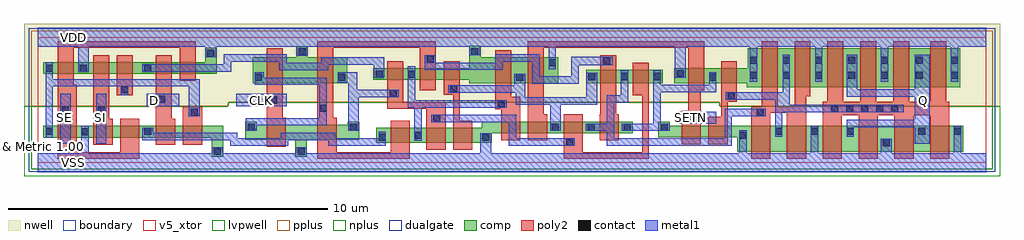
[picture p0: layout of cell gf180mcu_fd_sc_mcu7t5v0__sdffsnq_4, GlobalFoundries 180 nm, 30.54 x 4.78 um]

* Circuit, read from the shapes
.subckt gf180mcu_fd_sc_mcu7t5v0__sdffsnq_4 CLK D Q SE SETN SI VDD VSS
XM1 VSS SE n1 VSUBS nfet_05v0 w=0.38u l=0.6u
XM2 n2 SI VSS VSUBS nfet_05v0 w=0.38u l=0.6u
XM3 n3 SE n2 VSUBS nfet_05v0 w=0.38u l=0.6u
XM4 n4 D n3 VSUBS nfet_05v0 w=0.38u l=0.6u
XM5 VSS n1 n4 VSUBS nfet_05v0 w=0.38u l=0.6u
XM6 VSS CLK n5 VSUBS nfet_05v0 w=0.465u l=0.6u
XM7 n6 n5 VSS VSUBS nfet_05v0 w=0.465u l=0.6u
XM8 n7 n5 n3 VSUBS nfet_05v0 w=0.475u l=0.6u
XM9 n8 n6 n7 VSUBS nfet_05v0 w=0.475u l=0.6u
XM10 VSS n9 n8 VSUBS nfet_05v0 w=0.475u l=0.6u
XM11 n10 n7 VSS VSUBS nfet_05v0 w=0.36u l=0.6u
XM12 n9 SETN n10 VSUBS nfet_05v0 w=0.36u l=0.6u
XM13 n11 n6 n9 VSUBS nfet_05v0 w=0.36u l=0.6u
XM14 n12 n5 n11 VSUBS nfet_05v0 w=0.36u l=0.6u
XM15 n13 SETN n12 VSUBS nfet_05v0 w=0.37u l=0.6u
XM16 VSS n14 n13 VSUBS nfet_05v0 w=0.37u l=0.6u
XM17 n14 n11 VSS VSUBS nfet_05v0 w=0.815u l=0.6u m=2
XM18 Q n14 VSS VSUBS nfet_05v0 w=0.815u l=0.6u m=4
XM19 VDD SE n1 n15 pfet_05v0 w=0.36u l=0.5u
XM20 n16 SI VDD n15 pfet_05v0 w=0.36u l=0.5u
XM21 n17 n1 n16 n15 pfet_05v0 w=0.36u l=0.5u
XM22 n18 D n17 n15 pfet_05v0 w=0.36u l=0.5u
XM23 VDD SE n18 n15 pfet_05v0 w=0.36u l=0.5u
XM24 VDD CLK n5 n15 pfet_05v0 w=0.815u l=0.5u
XM25 n6 n5 VDD n15 pfet_05v0 w=0.815u l=0.5u
XM26 n7 n6 n17 n15 pfet_05v0 w=0.36u l=0.5u
XM27 n19 n5 n7 n15 pfet_05v0 w=0.36u l=0.5u
XM28 VDD n9 n19 n15 pfet_05v0 w=0.36u l=0.5u
XM29 n9 n7 VDD n15 pfet_05v0 w=0.815u l=0.5u
XM30 VDD SETN n9 n15 pfet_05v0 w=0.815u l=0.5u
XM31 n11 n5 n9 n15 pfet_05v0 w=0.415u l=0.5u
XM32 n12 n6 n11 n15 pfet_05v0 w=0.415u l=0.5u
XM33 n12 SETN VDD n15 pfet_05v0 w=0.47u l=0.5u
XM34 VDD n14 n12 n15 pfet_05v0 w=0.47u l=0.5u
XM35 n14 n11 VDD n15 pfet_05v0 w=1.22u l=0.5u m=2
XM36 Q n14 VDD n15 pfet_05v0 w=1.22u l=0.5u m=4
.ends

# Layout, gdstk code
import gdstk
lib = gdstk.Library(unit=1e-6, precision=1e-09)
def R(c, l, rs):  # rectangles x0, y0, x1, y1
    for r in rs: c.add(gdstk.rectangle(r[:2], r[2:], *l))
def A(c, l, x, y, w, h, nx, ny, dx, dy):  # array of equal rectangles
    R(c, l, [(x+i*dx, y+j*dy, x+i*dx+w, y+j*dy+h) for i in range(nx) for j in range(ny)])
def P(c, l, *ps):  # polygons
    for p in ps: c.add(gdstk.Polygon(p, *l))
boundary = (0, 0)
nwell = (21, 0)
comp = (22, 0)
poly2 = (30, 0)
pplus = (31, 0)
nplus = (32, 0)
contact = (33, 0)
metal1 = (34, 0)
dualgate = (55, 0)
v5_xtor = (112, 1)
lvpwell = (204, 0)

gf180mcu_fd_sc_mcu7t5v0_ = lib.new_cell('gf180mcu_fd_sc_mcu7t5v0__sdffsnq_4')
R(gf180mcu_fd_sc_mcu7t5v0_, boundary, [(0,0,29.68,3.92)])
P(gf180mcu_fd_sc_mcu7t5v0_, nwell, [(-0.43,1.76),(-0.43,4.35),(30.11,4.35),(30.11,1.76),(21.345,1.76),(21.345,1.885),(5.965,1.885),(5.965,1.76)])
R(gf180mcu_fd_sc_mcu7t5v0_, comp, [(17.16,2.485,19.56,2.9)])
P(gf180mcu_fd_sc_mcu7t5v0_, comp, [(0.18,2.78),(0.18,3.14),(5.24,3.14),(5.24,3.6),(5.6,3.6),(5.6,2.78)],
  [(5.44,0.18),(5.44,0.78),(0.18,0.78),(0.18,1.16),(5.8,1.16),(5.8,0.18)],
  [(6.72,2.485),(6.72,3.3),(8.09,3.3),(8.09,3.645),(8.45,3.645),(8.45,3.3),(9.69,3.3),(9.69,2.485)],
  [(8.06,0.18),(8.06,0.72),(6.5,0.72),(6.5,1.285),(6.86,1.285),(6.86,1.185),(9.7,1.185),(9.7,1.285),(10.06,1.285),(10.06,0.72),(8.42,0.72),(8.42,0.18)],
  [(13.5,2.485),(13.5,2.59),(10.5,2.59),(10.5,2.95),(13.5,2.95),(13.5,3.655),(13.86,3.655),(13.86,3.3),(16.28,3.3),(16.28,2.485)],
  [(10.6,0.62),(10.6,1.095),(13.9,1.095),(13.9,1.285),(18.62,1.285),(18.62,0.925),(14.2,0.925),(14.2,0.62)],
  [(22.18,2.36),(22.18,2.485),(19.92,2.485),(19.92,2.955),(22.22,2.955),(22.22,3.58),(28.865,3.58),(28.865,2.36)],
  [(21.885,0.345),(21.885,0.79),(19.42,0.79),(19.42,1.285),(19.78,1.285),(19.78,1.16),(28.965,1.16),(28.965,0.345)])
R(gf180mcu_fd_sc_mcu7t5v0_, poly2, [(4.54,0.56,5.14,1.75), (2.48,2.105,2.98,3.36)])
P(gf180mcu_fd_sc_mcu7t5v0_, poly2, [(1.74,0.56),(1.74,3.36),(2.24,3.36),(2.24,1.38),(2.34,1.38),(2.34,0.56)],
  [(3.7,0.56),(3.7,3.36),(4.2,3.36),(4.2,1.38),(4.3,1.38),(4.3,0.56)],
  [(0.62,0.12),(0.62,3.8),(4.94,3.8),(4.94,2.56),(4.44,2.56),(4.44,3.6),(1.12,3.6),(1.12,2.43),(1.22,2.43),(1.22,0.32),(2.58,0.32),(2.58,1.38),(3.18,1.38),(3.18,0.12)],
  [(7.16,0.5),(7.16,3.585),(7.66,3.585),(7.66,1.405),(7.76,1.405),(7.76,0.5)],
  [(8.75,0.12),(8.75,3.8),(12.46,3.8),(12.46,2.27),(11.96,2.27),(11.96,3.6),(9.25,3.6),(9.25,1.405),(9.35,1.405),(9.35,0.32),(11.04,0.32),(11.04,1.315),(11.64,1.315),(11.64,0.12)],
  [(12.16,0.4),(12.16,1.69),(10.94,1.69),(10.94,3.17),(11.44,3.17),(11.44,1.89),(12.76,1.89),(12.76,0.4)],
  [(13,0.4),(13,2.13),(12.7,2.13),(12.7,3.17),(13.2,3.17),(13.2,1.315),(13.6,1.315),(13.6,0.4)],
  [(14.5,0.705),(14.5,1.665),(14.32,1.665),(14.32,3.52),(14.82,3.52),(14.82,2.06),(15.1,2.06),(15.1,0.705)],
  [(17.58,0.705),(17.58,1.505),(17.6,1.505),(17.6,3.36),(18.1,3.36),(18.1,1.52),(18.18,1.52),(18.18,0.705)],
  [(16.46,0.12),(16.46,1.52),(17.06,1.52),(17.06,0.32),(18.92,0.32),(18.92,2.115),(18.62,2.115),(18.62,3.12),(19.12,3.12),(19.12,0.12)],
  [(20.145,0.57),(20.145,1.62),(20.36,1.62),(20.36,3.6),(15.84,3.6),(15.84,1.52),(15.94,1.52),(15.94,0.705),(15.34,0.705),(15.34,3.8),(20.86,3.8),(20.86,2.265),(20.745,2.265),(20.745,0.57)],
  [(20.985,0.57),(20.985,1.435),(21.38,1.435),(21.38,3.175),(21.88,3.175),(21.88,1.9),(21.585,1.9),(21.585,0.57)],
  [(22.325,0.12),(22.325,1.75),(22.66,1.75),(22.66,3.8),(23.16,3.8),(23.16,1.755),(23.68,1.755),(23.68,3.8),(24.18,3.8),(24.18,2.085),(24.045,2.085),(24.045,0.12),(23.445,0.12),(23.445,1.555),(22.925,1.555),(22.925,0.12)],
  [(24.565,0.12),(24.565,1.9),(24.7,1.9),(24.7,3.8),(25.2,3.8),(25.2,1.9),(25.735,1.9),(25.735,3.8),(26.235,3.8),(26.235,1.9),(26.765,1.9),(26.765,3.8),(27.265,3.8),(27.265,1.9),(27.925,1.9),(27.925,3.8),(28.425,3.8),(28.425,1.9),(28.525,1.9),(28.525,0.12),(27.925,0.12),(27.925,1.48),(27.405,1.48),(27.405,0.12),(26.805,0.12),(26.805,1.48),(26.285,1.48),(26.285,0.12),(25.685,0.12),(25.685,1.48),(25.165,1.48),(25.165,0.12)])
P(gf180mcu_fd_sc_mcu7t5v0_, pplus, [(-0.2,1.76),(-0.2,4.12),(29.88,4.12),(29.88,1.76),(21.345,1.76),(21.345,1.885),(5.965,1.885),(5.965,1.76)])
P(gf180mcu_fd_sc_mcu7t5v0_, nplus, [(-0.2,-0.2),(-0.2,1.76),(5.965,1.76),(5.965,1.885),(21.345,1.885),(21.345,1.76),(29.88,1.76),(29.88,-0.2)])
A(gf180mcu_fd_sc_mcu7t5v0_, contact, 23.075, 0.865, 0.22, 0.22, 3, 1, 1.12, 0)
A(gf180mcu_fd_sc_mcu7t5v0_, contact, 16.09, 0.995, 0.22, 0.22, 3, 1, 1.12, 0)
A(gf180mcu_fd_sc_mcu7t5v0_, contact, 24.825, 1.58, 0.22, 0.22, 5, 1, 0.47, 0)
A(gf180mcu_fd_sc_mcu7t5v0_, contact, 17.23, 2.585, 0.22, 0.22, 3, 1, 1.02, 0)
A(gf180mcu_fd_sc_mcu7t5v0_, contact, 22.29, 2.63, 0.22, 0.22, 3, 2, 1.02, 0.47)
A(gf180mcu_fd_sc_mcu7t5v0_, contact, 26.385, 2.63, 0.22, 0.22, 3, 2, 1.095, 0.47)
R(gf180mcu_fd_sc_mcu7t5v0_, contact, [(5.51,0.25,5.73,0.47), (8.13,0.25,8.35,0.47), (26.435,0.52,26.655,0.74), (16.53,0.535,16.75,0.755), (10.67,0.69,10.89,0.91), (13.91,0.69,14.13,0.91), (11.79,0.74,12.01,0.96), (21.955,0.74,22.175,0.96), (1.37,0.85,1.59,1.07), (27.555,0.865,27.775,1.085), (28.675,0.865,28.895,1.085), (0.25,0.87,0.47,1.09), (3.33,0.87,3.55,1.09), (6.57,0.995,6.79,1.215), (9.77,0.995,9.99,1.215), (19.49,0.995,19.71,1.215), (12.37,1.265,12.59,1.485), (20.215,1.33,20.435,1.55), (4.785,1.46,5.005,1.68), (22.495,1.46,22.715,1.68), (0.755,1.53,0.975,1.75), (1.88,1.53,2.1,1.75), (8.82,1.59,9.04,1.81), (14.39,1.735,14.61,1.955), (7.28,1.85,7.5,2.07), (3.77,1.87,3.99,2.09), (21.59,1.97,21.81,2.19), (11.01,2.055,11.23,2.275), (2.605,2.175,2.825,2.395), (12.91,2.2,13.13,2.42), (6.79,2.555,7.01,2.775), (9.4,2.555,9.62,2.775), (14.97,2.555,15.19,2.775), (21.01,2.555,21.23,2.775), (25.365,2.63,25.585,2.85), (10.57,2.66,10.79,2.88), (11.59,2.66,11.81,2.88), (19.99,2.665,20.21,2.885), (0.25,2.85,0.47,3.07), (1.32,2.85,1.54,3.07), (3.33,2.85,3.55,3.07), (15.99,3.01,16.21,3.23), (17.69,3.07,17.91,3.29), (25.365,3.1,25.585,3.32), (12.17,3.13,12.39,3.35), (5.31,3.31,5.53,3.53), (8.16,3.355,8.38,3.575), (13.57,3.365,13.79,3.585)])
R(gf180mcu_fd_sc_mcu7t5v0_, metal1, [(0.705,0.595,1.03,2.15), (1.825,0.595,2.15,2.15), (20.075,1.21,21.23,1.59), (3.41,1.77,4.43,2.15), (6.21,1.77,7.79,2.15)])
P(gf180mcu_fd_sc_mcu7t5v0_, metal1, [(0.245,0.78),(0.245,3.14),(0.475,3.14),(0.475,2.615),(5.065,2.615),(5.065,1.455),(4.725,1.455),(4.725,2.385),(2.83,2.385),(2.83,2.105),(2.6,2.105),(2.6,2.385),(0.475,2.385),(0.475,0.78)],
  [(6.51,0.99),(6.51,1.395),(8.815,1.395),(8.815,2.43),(6.785,2.43),(6.785,2.835),(7.07,2.835),(7.07,2.66),(9.045,2.66),(9.045,1.165),(6.85,1.165),(6.85,0.99)],
  [(10.51,2.655),(10.51,3.065),(9.095,3.065),(9.095,2.89),(7.56,2.89),(7.56,3.16),(6.05,3.16),(6.05,2.845),(3.27,2.845),(3.27,3.075),(5.82,3.075),(5.82,3.39),(7.79,3.39),(7.79,3.12),(8.865,3.12),(8.865,3.295),(10.85,3.295),(10.85,2.655)],
  [(6.02,0.53),(6.02,0.705),(3.27,0.705),(3.27,1.095),(3.61,1.095),(3.61,0.935),(6.25,0.935),(6.25,0.76),(7.61,0.76),(7.61,0.935),(9.315,0.935),(9.315,0.76),(10.665,0.76),(10.665,0.97),(10.895,0.97),(10.895,0.53),(9.085,0.53),(9.085,0.705),(7.84,0.705),(7.84,0.53)],
  [(9.71,0.99),(9.71,2.495),(9.395,2.495),(9.395,2.835),(9.995,2.835),(9.995,2.28),(11.29,2.28),(11.29,2.045),(10.05,2.045),(10.05,0.99)],
  [(11.785,0.68),(11.785,1.725),(11.585,1.725),(11.585,3.015),(11.815,3.015),(11.815,1.96),(14.67,1.96),(14.67,1.725),(12.015,1.725),(12.015,0.68)],
  [(14.745,0.53),(14.745,1.26),(12.31,1.26),(12.31,1.495),(14.975,1.495),(14.975,0.76),(16.81,0.76),(16.81,0.53)],
  [(16.03,0.99),(16.03,1.805),(14.965,1.805),(14.965,2.19),(12.85,2.19),(12.85,2.425),(14.91,2.425),(14.91,2.78),(15.25,2.78),(15.25,2.04),(17.17,2.04),(17.17,2.81),(17.51,2.81),(17.51,1.805),(16.37,1.805),(16.37,0.99)],
  [(15.48,2.465),(15.48,3.16),(14.55,3.16),(14.55,2.9),(12.11,2.9),(12.11,3.355),(12.45,3.355),(12.45,3.13),(14.32,3.13),(14.32,3.39),(15.71,3.39),(15.71,2.7),(16.7,2.7),(16.7,3.31),(17.99,3.31),(17.99,3.04),(16.93,3.04),(16.93,2.465)],
  [(18.27,0.99),(18.27,1.22),(19.265,1.22),(19.265,2.89),(19.495,2.89),(19.495,2.43),(21.005,2.43),(21.005,2.835),(21.235,2.835),(21.235,2.2),(19.495,2.2),(19.495,1.22),(19.77,1.22),(19.77,0.99)],
  [(17.81,0.53),(17.81,0.99),(17.15,0.99),(17.15,1.22),(17.81,1.22),(17.81,2.105),(18.245,2.105),(18.245,2.89),(18.475,2.89),(18.475,1.875),(18.04,1.875),(18.04,0.76),(21.49,0.76),(21.49,1.685),(22.775,1.685),(22.775,1.45),(21.72,1.45),(21.72,0.53)],
  [(23.07,0.805),(23.07,1.965),(21.53,1.965),(21.53,2.195),(23.305,2.195),(23.305,3.38),(23.535,3.38),(23.535,1.805),(27.105,1.805),(27.105,1.575),(23.3,1.575),(23.3,0.805)],
  [(27.44,0.595),(27.44,1.115),(25.54,1.115),(25.54,0.805),(25.31,0.805),(25.31,1.345),(27.44,1.345),(27.44,2.055),(25.31,2.055),(25.31,3.38),(25.64,3.38),(25.64,2.29),(27.44,2.29),(27.44,3.38),(27.91,3.38),(27.91,0.595)],
  [(0,-0.3),(0,0.3),(1.365,0.3),(1.365,1.16),(1.595,1.16),(1.595,0.3),(5.45,0.3),(5.45,0.475),(5.79,0.475),(5.79,0.3),(8.07,0.3),(8.07,0.475),(8.41,0.475),(8.41,0.3),(13.85,0.3),(13.85,0.915),(14.19,0.915),(14.19,0.3),(21.95,0.3),(21.95,1.02),(22.18,1.02),(22.18,0.3),(24.19,0.3),(24.19,1.145),(24.42,1.145),(24.42,0.3),(26.375,0.3),(26.375,0.75),(26.715,0.75),(26.715,0.3),(28.67,0.3),(28.67,1.145),(28.9,1.145),(28.9,0.3),(29.68,0.3),(29.68,-0.3)],
  [(22.285,2.53),(22.285,3.62),(20.27,3.62),(20.27,2.66),(19.93,2.66),(19.93,3.62),(16.215,3.62),(16.215,2.93),(15.985,2.93),(15.985,3.62),(13.85,3.62),(13.85,3.36),(13.51,3.36),(13.51,3.62),(8.44,3.62),(8.44,3.35),(8.1,3.35),(8.1,3.62),(5.59,3.62),(5.59,3.305),(5.25,3.305),(5.25,3.62),(1.6,3.62),(1.6,2.845),(1.26,2.845),(1.26,3.62),(0,3.62),(0,4.22),(29.68,4.22),(29.68,3.62),(28.8,3.62),(28.8,2.53),(28.57,2.53),(28.57,3.62),(26.61,3.62),(26.61,2.53),(26.38,2.53),(26.38,3.62),(24.555,3.62),(24.555,2.53),(24.325,2.53),(24.325,3.62),(22.515,3.62),(22.515,2.53)])
R(gf180mcu_fd_sc_mcu7t5v0_, dualgate, [(-0.28,-0.28,29.96,4.2)])
R(gf180mcu_fd_sc_mcu7t5v0_, v5_xtor, [(0,0,29.68,3.92)])
P(gf180mcu_fd_sc_mcu7t5v0_, lvpwell, [(-0.43,-0.43),(-0.43,1.76),(5.965,1.76),(5.965,1.885),(21.345,1.885),(21.345,1.76),(30.11,1.76),(30.11,-0.43)])
gf180mcu_fd_sc_mcu7t5v0_.add(gdstk.Label('D', (3.64,1.96), layer=34, texttype=10))
gf180mcu_fd_sc_mcu7t5v0_.add(gdstk.Label('Q', (27.72,1.96), layer=34, texttype=10))
gf180mcu_fd_sc_mcu7t5v0_.add(gdstk.Label('SE', (0.84,1.4), layer=34, texttype=10))
gf180mcu_fd_sc_mcu7t5v0_.add(gdstk.Label('SETN', (20.44,1.4), layer=34, texttype=10))
gf180mcu_fd_sc_mcu7t5v0_.add(gdstk.Label('SI', (1.96,1.4), layer=34, texttype=10))
gf180mcu_fd_sc_mcu7t5v0_.add(gdstk.Label('VDD', (1.12,3.92), layer=34, texttype=10))
gf180mcu_fd_sc_mcu7t5v0_.add(gdstk.Label('VSS', (1.12,0), layer=34, texttype=10))
gf180mcu_fd_sc_mcu7t5v0_.add(gdstk.Label('CLK', (7,1.96), layer=34, texttype=10))
gf180mcu_fd_sc_mcu7t5v0_.add(gdstk.Label('& Vendor GLOBALFOUNDRIES', (0,2), layer=63, texttype=63))
gf180mcu_fd_sc_mcu7t5v0_.add(gdstk.Label('& Product GF018hv5v_mcu_sc7', (0,1.5), layer=63, texttype=63))
gf180mcu_fd_sc_mcu7t5v0_.add(gdstk.Label('& Version 2015q2v1', (0,1), layer=63, texttype=63))
gf180mcu_fd_sc_mcu7t5v0_.add(gdstk.Label('& Metric 1.00', (0,0.5), layer=63, texttype=63))

lib.write_gds('gf180mcu_fd_sc_mcu7t5v0__sdffsnq_4.gds')
